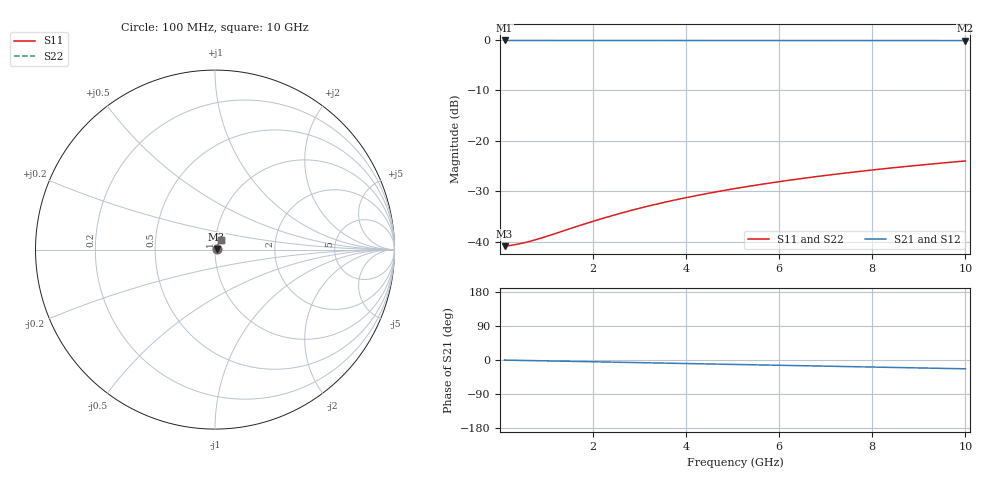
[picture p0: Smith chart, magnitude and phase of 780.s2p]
# Hz S RI R 50.00
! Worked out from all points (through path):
!   100 points, 100 MHz to 10 GHz, reference 50 ohm
!   highest |S21| = -0.08 dB at 100 MHz (marker M1); lowest = -0.1 dB at 10 GHz (marker M2)
!   group delay of S21, straight-line fit = 6.46 ps
!   lowest |S11| = -40.9 dB at 100 MHz (marker M3), VSWR 1.02, Z = 50.9 + j0.0619 ohm
!   |S11| at or under -10 dB: start of sweep to end of sweep
!   |S22| runs from -40.9 to -24.0 dB; largest |S21 - S12| = 0
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1e8  0.00901 0.000608  0.991 -0.00402  0.991 -0.00402  0.00901 0.000608
3e8  0.00913 0.00182  0.9908 -0.0121  0.9908 -0.0121  0.00913 0.00182
4e8  0.00918 0.00243  0.9907 -0.0161  0.9907 -0.0161  0.00918 0.00243
5e8  0.00923 0.00303  0.9906 -0.0201  0.9906 -0.0201  0.00923 0.00303
7e8  0.00934 0.00424  0.9903 -0.0282  0.9903 -0.0282  0.00934 0.00424
1e9  0.00953 0.00606  0.9899 -0.0402  0.9899 -0.0402  0.00953 0.00606
1.8e9  0.0102 0.0109  0.9878 -0.0723  0.9878 -0.0723  0.0102 0.0109
2.2e9  0.0106 0.0133  0.9865 -0.0883  0.9865 -0.0883  0.0106 0.0133
2.6e9  0.0112 0.0156  0.9848 -0.1043  0.9848 -0.1043  0.0112 0.0156
3e9  0.0117 0.018  0.9829 -0.1203  0.9829 -0.1203  0.0117 0.018
3.4e9  0.0124 0.0203  0.9807 -0.1362  0.9807 -0.1362  0.0124 0.0203
3.8e9  0.0132 0.0226  0.9783 -0.1521  0.9783 -0.1521  0.0132 0.0226
4.2e9  0.014 0.0249  0.9756 -0.1679  0.9756 -0.1679  0.014 0.0249
4.6e9  0.0149 0.0271  0.9726 -0.1837  0.9726 -0.1837  0.0149 0.0271
5.1e9  0.0161 0.0299  0.9685 -0.2034  0.9685 -0.2034  0.0161 0.0299
5.5e9  0.0171 0.0321  0.965 -0.2191  0.965 -0.2191  0.0171 0.0321
5.9e9  0.0182 0.0342  0.9612 -0.2347  0.9612 -0.2347  0.0182 0.0342
6.7e9  0.0207 0.0384  0.9528 -0.2657  0.9528 -0.2657  0.0207 0.0384
7.5e9  0.0234 0.0424  0.9434 -0.2963  0.9434 -0.2963  0.0234 0.0424
8.4e9  0.0268 0.0467  0.9317 -0.3304  0.9317 -0.3304  0.0268 0.0467
9.2e9  0.03 0.0502  0.9202 -0.3603  0.9202 -0.3603  0.03 0.0502
1e10  0.0335 0.0536  0.9077 -0.3898  0.9077 -0.3898  0.0335 0.0536
